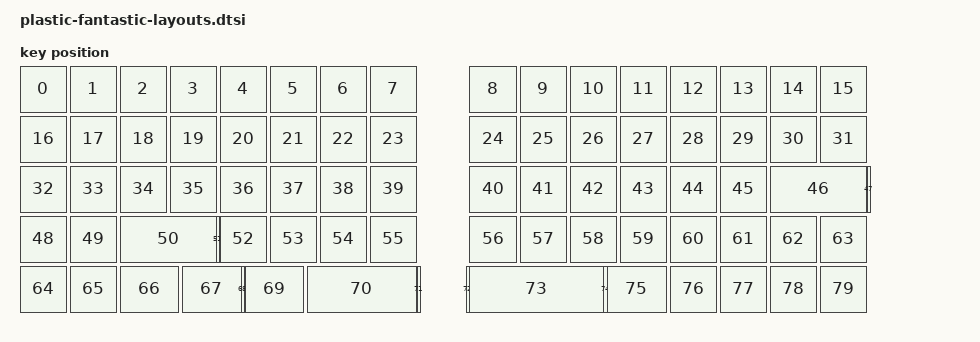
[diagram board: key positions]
/ {
    layouts_plastic_fantastic_position_map: layouts_plastic_fantastic_position_map {
        compatible = "zmk,physical-layout-position-map";

        complete;
    };
};

/ {
    key_physical_attrs: key_physical_attrs {
        compatible = "zmk,key-physical-attrs";

        #key-cells = <7>;
    };
};

/ {
    plastic_fantastic_layout: plastic_fantastic_layout {
        compatible = "zmk,physical-layout";
        display-name = "plastic fantastic";

        keys  //                     w   h    x    y     rot    rx    ry
            = <&key_physical_attrs 100 100    0    0       0     0     0>
            , <&key_physical_attrs 100 100  100    0       0     0     0>
            , <&key_physical_attrs 100 100  200    0       0     0     0>
            , <&key_physical_attrs 100 100  300    0       0     0     0>
            , <&key_physical_attrs 100 100  400    0       0     0     0>
            , <&key_physical_attrs 100 100  500    0       0     0     0>
            , <&key_physical_attrs 100 100  600    0       0     0     0>
            , <&key_physical_attrs 100 100  700    0       0     0     0>

            , <&key_physical_attrs 100 100  900    0       0     0     0>
            , <&key_physical_attrs 100 100 1000    0       0     0     0>
            , <&key_physical_attrs 100 100 1100    0       0     0     0>
            , <&key_physical_attrs 100 100 1200    0       0     0     0>
            , <&key_physical_attrs 100 100 1300    0       0     0     0>
            , <&key_physical_attrs 100 100 1400    0       0     0     0>
            , <&key_physical_attrs 100 100 1500    0       0     0     0>
            , <&key_physical_attrs 100 100 1600    0       0     0     0>
            

            , <&key_physical_attrs 100 100    0  100       0     0     0>
            , <&key_physical_attrs 100 100  100  100       0     0     0>
            , <&key_physical_attrs 100 100  200  100       0     0     0>
            , <&key_physical_attrs 100 100  300  100       0     0     0>
            , <&key_physical_attrs 100 100  400  100       0     0     0>
            , <&key_physical_attrs 100 100  500  100       0     0     0>
            , <&key_physical_attrs 100 100  600  100       0     0     0>
            , <&key_physical_attrs 100 100  700  100       0     0     0>
            
            , <&key_physical_attrs 100 100  900  100       0     0     0>
            , <&key_physical_attrs 100 100 1000  100       0     0     0>
            , <&key_physical_attrs 100 100 1100  100       0     0     0>
            , <&key_physical_attrs 100 100 1200  100       0     0     0>
            , <&key_physical_attrs 100 100 1300  100       0     0     0>
            , <&key_physical_attrs 100 100 1400  100       0     0     0>
            , <&key_physical_attrs 100 100 1500  100       0     0     0>
            , <&key_physical_attrs 100 100 1600  100       0     0     0>
            

            , <&key_physical_attrs 100 100    0  200       0     0     0>
            , <&key_physical_attrs 100 100  100  200       0     0     0>
            , <&key_physical_attrs 100 100  200  200       0     0     0>
            , <&key_physical_attrs 100 100  300  200       0     0     0>
            , <&key_physical_attrs 100 100  400  200       0     0     0>
            , <&key_physical_attrs 100 100  500  200       0     0     0>
            , <&key_physical_attrs 100 100  600  200       0     0     0>
            , <&key_physical_attrs 100 100  700  200       0     0     0>
            
            , <&key_physical_attrs 100 100  900  200       0     0     0>
            , <&key_physical_attrs 100 100 1000  200       0     0     0>
            , <&key_physical_attrs 100 100 1100  200       0     0     0>
            , <&key_physical_attrs 100 100 1200  200       0     0     0>
            , <&key_physical_attrs 100 100 1300  200       0     0     0>
            , <&key_physical_attrs 100 100 1400  200       0     0     0>
            , <&key_physical_attrs 200 100 1500  200       0     0     0>
            , <&key_physical_attrs   1 100 1701  200       0     0     0>
            

            , <&key_physical_attrs 100 100    0  300       0     0     0>
            , <&key_physical_attrs 100 100  100  300       0     0     0>
            , <&key_physical_attrs 200 100  200  300       0     0     0>
            , <&key_physical_attrs   1 100  399  300       0     0     0>
            , <&key_physical_attrs 100 100  400  300       0     0     0>
            , <&key_physical_attrs 100 100  500  300       0     0     0>
            , <&key_physical_attrs 100 100  600  300       0     0     0>
            , <&key_physical_attrs 100 100  700  300       0     0     0>
            
            , <&key_physical_attrs 100 100  900  300       0     0     0>
            , <&key_physical_attrs 100 100 1000  300       0     0     0>
            , <&key_physical_attrs 100 100 1100  300       0     0     0>
            , <&key_physical_attrs 100 100 1200  300       0     0     0>
            , <&key_physical_attrs 100 100 1300  300       0     0     0>
            , <&key_physical_attrs 100 100 1400  300       0     0     0>
            , <&key_physical_attrs 100 100 1500  300       0     0     0>
            , <&key_physical_attrs 100 100 1600  300       0     0     0>
            

            , <&key_physical_attrs 100 100    0  400       0     0     0>
            , <&key_physical_attrs 100 100  100  400       0     0     0>
            , <&key_physical_attrs 125 100  200  400       0     0     0>
            , <&key_physical_attrs 125 100  325  400       0     0     0>
            , <&key_physical_attrs   1 100  449  400       0     0     0>
            , <&key_physical_attrs 125 100  450  400       0     0     0>
            , <&key_physical_attrs 225 100  575  400       0     0     0>
            , <&key_physical_attrs   1 100  801  400       0     0     0>
            
            , <&key_physical_attrs   1 100  899  400       0     0     0>
            , <&key_physical_attrs 275 100  900  400       0     0     0>
            , <&key_physical_attrs   1 100 1174  400       0     0     0>
            , <&key_physical_attrs 125 100 1175  400       0     0     0>
            , <&key_physical_attrs 100 100 1300  400       0     0     0>
            , <&key_physical_attrs 100 100 1400  400       0     0     0>
            , <&key_physical_attrs 100 100 1500  400       0     0     0>
            , <&key_physical_attrs 100 100 1600  400       0     0     0>
        ;
    };
};

&layouts_foostan_corne_position_map {
    foostan_corne_6col_posmap: six {
        physical-layout = <&foostan_corne_6col_layout>;
        positions
            = < 0  1  2  3  4  5  6  7  8  9 10 11 12 13 14 15>
            , <16 17 18 19 20 21 22 23 24 25 26 27 28 29 30 31>
            , <32 33 34 35 36 37 38 39 40 41 42 43 44 45 46 47>
            , <48 49 50 51 52 53 54 55 56 57 58 59 60 61 62 63>
            , <64 65 66 67 68 69 70 71 72 73 74 75 76 77 78 79>;
    };
};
